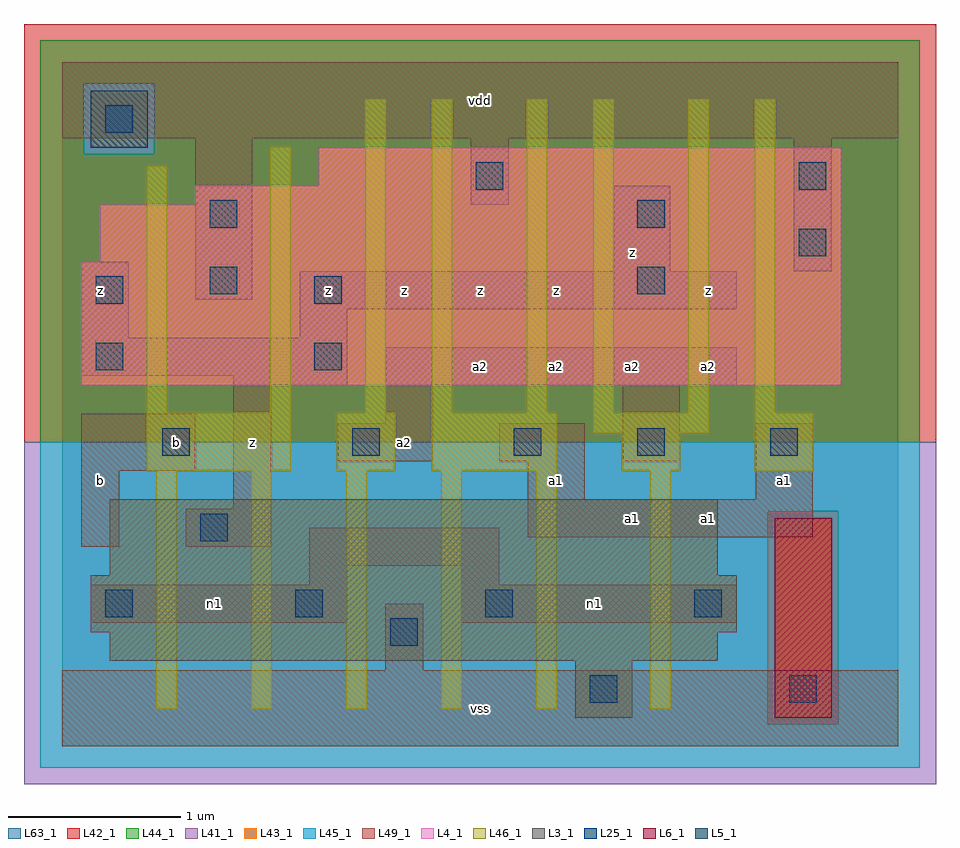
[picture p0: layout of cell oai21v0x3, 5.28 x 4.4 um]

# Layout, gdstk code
import gdstk
lib = gdstk.Library(unit=1e-6, precision=1e-09)
def R(c, l, rs):  # rectangles x0, y0, x1, y1
    for r in rs: c.add(gdstk.rectangle(r[:2], r[2:], *l))
def A(c, l, x, y, w, h, nx, ny, dx, dy):  # array of equal rectangles
    R(c, l, [(x+i*dx, y+j*dy, x+i*dx+w, y+j*dy+h) for i in range(nx) for j in range(ny)])
L3_1 = (3, 1)
L4_1 = (4, 1)
L5_1 = (5, 1)
L6_1 = (6, 1)
L25_1 = (25, 1)
L41_1 = (41, 1)
L42_1 = (42, 1)
L43_1 = (43, 1)
L44_1 = (44, 1)
L45_1 = (45, 1)
L46_1 = (46, 1)
L49_1 = (49, 1)
L63_1 = (63, 1)

oai21v0x3 = lib.new_cell('oai21v0x3')
R(oai21v0x3, L3_1, [(2.97,0.165,3.3,0.495), (0.275,0.495,3.795,0.66), (0.165,0.66,3.905,0.99), (0.275,0.99,3.795,1.43)])
R(oai21v0x3, L4_1, [(0.11,2.09,4.51,2.805), (0.22,2.805,4.51,3.135), (0.77,3.135,4.51,3.245), (1.485,3.245,4.51,3.465)])
R(oai21v0x3, L5_1, [(0.165,3.465,0.495,3.795)])
R(oai21v0x3, L6_1, [(4.125,0.165,4.455,1.32)])
A(oai21v0x3, L25_1, 0.25, 0.745, 0.16, 0.16, 3, 1, 1.1, 0)
R(oai21v0x3, L25_1, [(3.055,0.25,3.215,0.41), (4.21,0.25,4.37,0.41), (1.9,0.58,2.06,0.74), (3.66,0.745,3.82,0.905), (0.8,1.185,0.96,1.345), (0.58,1.68,0.74,1.84), (1.68,1.68,1.84,1.84), (2.615,1.68,2.775,1.84), (3.33,1.68,3.49,1.84), (4.1,1.68,4.26,1.84), (0.195,2.175,0.355,2.335), (1.46,2.175,1.62,2.335), (0.195,2.56,0.355,2.72), (1.46,2.56,1.62,2.72), (0.855,2.615,1.015,2.775), (3.33,2.615,3.49,2.775), (4.265,2.835,4.425,2.995), (0.855,3,1.015,3.16), (3.33,3,3.49,3.16), (2.395,3.22,2.555,3.38), (4.265,3.22,4.425,3.38), (0.25,3.55,0.41,3.71)])
R(oai21v0x3, L41_1, [(-0.22,-0.22,5.06,1.76)])
R(oai21v0x3, L42_1, [(-0.22,1.76,5.06,4.18)])
R(oai21v0x3, L43_1, [(2.97,0.165,3.3,0.495), (4.125,0.165,4.455,1.32), (0.275,0.495,3.795,0.66), (0.165,0.66,3.905,0.99), (0.275,0.99,3.795,1.43), (0.11,2.09,4.51,2.805), (0.22,2.805,4.51,3.135), (0.77,3.135,4.51,3.245), (1.485,3.245,4.51,3.465), (0.165,3.465,0.495,3.795)])
R(oai21v0x3, L44_1, [(4.085,0.125,4.495,1.36), (-0.125,1.76,4.965,3.425), (-0.125,3.425,0.125,3.835), (0.535,3.425,4.965,3.835), (-0.125,3.835,4.965,4.085)])
R(oai21v0x3, L45_1, [(-0.125,-0.125,4.965,0.125), (-0.125,0.125,4.085,1.36), (4.495,0.125,4.965,1.36), (-0.125,1.36,4.965,1.76), (0.125,3.425,0.535,3.835)])
A(oai21v0x3, L46_1, 0.545, 0.215, 0.12, 1.375, 5, 1, 0.55, 0)
R(oai21v0x3, L46_1, [(3.405,0.215,3.525,1.59), (0.49,1.59,1.325,1.93), (1.59,1.59,1.93,1.93), (2.14,1.59,2.865,1.93), (3.24,1.59,3.58,1.81), (4.01,1.59,4.35,1.93), (3.075,1.81,3.745,1.93), (0.49,1.93,0.61,3.36), (1.205,1.93,1.325,3.47), (1.755,1.93,1.875,3.745), (2.14,1.93,2.26,3.745), (2.69,1.93,2.81,3.745), (3.075,1.93,3.195,3.745), (3.625,1.93,3.745,3.745), (4.01,1.93,4.13,3.745)])
R(oai21v0x3, L49_1, [(0,0,4.84,0.44), (1.87,0.44,2.09,0.825), (0.165,0.715,1.65,0.935), (2.31,0.715,3.905,0.935), (1.43,0.935,1.65,1.045), (2.31,0.935,2.53,1.045), (1.43,1.045,2.53,1.265), (0.11,1.155,0.33,1.595), (0.715,1.155,1.21,1.375), (2.695,1.21,4.345,1.43), (0.99,1.375,1.21,2.09), (2.695,1.43,3.025,1.65), (4.015,1.43,4.345,1.87), (0.11,1.595,0.77,1.925), (1.595,1.65,2.145,1.87), (2.53,1.65,3.025,1.87), (3.245,1.65,3.575,2.09), (1.87,1.87,2.145,2.09), (0.99,2.09,1.65,2.145), (1.87,2.09,3.905,2.31), (0.11,2.145,1.65,2.365), (0.11,2.365,0.385,2.805), (1.375,2.365,1.65,2.53), (1.375,2.53,3.905,2.75), (0.77,2.585,1.1,3.52), (3.19,2.75,3.52,3.245), (4.235,2.75,4.455,3.52), (2.365,3.135,2.585,3.52), (0,3.52,4.84,3.96)])
R(oai21v0x3, L63_1, [(0,0,4.84,3.96)])
oai21v0x3.add(gdstk.Label('b', (0.66,1.76), layer=49, texttype=1))
oai21v0x3.add(gdstk.Label('b', (0.22,1.54), layer=49, texttype=1))
oai21v0x3.add(gdstk.Label('z', (0.22,2.64), layer=49, texttype=1))
oai21v0x3.add(gdstk.Label('n1', (0.88,0.825), layer=49, texttype=1))
oai21v0x3.add(gdstk.Label('z', (1.1,1.76), layer=49, texttype=1))
oai21v0x3.add(gdstk.Label('z', (1.54,2.64), layer=49, texttype=1))
oai21v0x3.add(gdstk.Label('vss', (2.42,0.22), layer=49, texttype=1))
oai21v0x3.add(gdstk.Label('a2', (1.98,1.76), layer=49, texttype=1))
oai21v0x3.add(gdstk.Label('a2', (2.42,2.2), layer=49, texttype=1))
oai21v0x3.add(gdstk.Label('z', (1.98,2.64), layer=49, texttype=1))
oai21v0x3.add(gdstk.Label('z', (2.42,2.64), layer=49, texttype=1))
oai21v0x3.add(gdstk.Label('vdd', (2.42,3.74), layer=49, texttype=1))
oai21v0x3.add(gdstk.Label('a1', (3.3,1.32), layer=49, texttype=1))
oai21v0x3.add(gdstk.Label('a1', (3.74,1.32), layer=49, texttype=1))
oai21v0x3.add(gdstk.Label('a1', (2.86,1.54), layer=49, texttype=1))
oai21v0x3.add(gdstk.Label('a2', (2.86,2.2), layer=49, texttype=1))
oai21v0x3.add(gdstk.Label('a2', (3.3,2.2), layer=49, texttype=1))
oai21v0x3.add(gdstk.Label('a2', (3.74,2.2), layer=49, texttype=1))
oai21v0x3.add(gdstk.Label('z', (2.86,2.64), layer=49, texttype=1))
oai21v0x3.add(gdstk.Label('z', (3.3,2.86), layer=49, texttype=1))
oai21v0x3.add(gdstk.Label('z', (3.74,2.64), layer=49, texttype=1))
oai21v0x3.add(gdstk.Label('n1', (3.08,0.825), layer=49, texttype=1))
oai21v0x3.add(gdstk.Label('a1', (4.18,1.54), layer=49, texttype=1))

lib.write_gds('oai21v0x3.gds')
